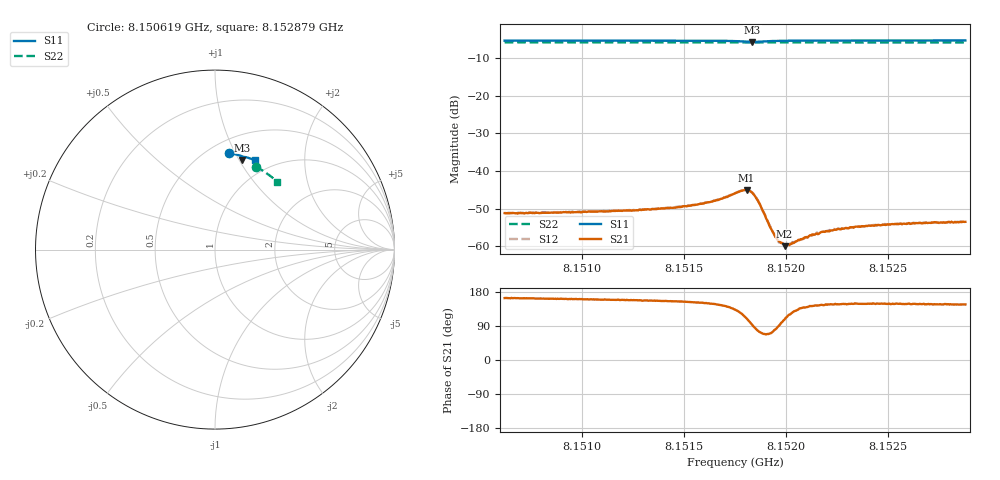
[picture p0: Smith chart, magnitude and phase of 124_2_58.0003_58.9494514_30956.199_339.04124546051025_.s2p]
#  HZ  S  RI  R  50.00
! Rohde & Schwarz Vector Network Analyzer
! Rohde-Schwarz,ZNB20-2Port,1311601062101988,3.16
! Created: UTC 3/21/2024, 12:55:50 AM
! freq[Hz]  re:S11  im:S11  re:S21  im:S21  re:S12  im:S12  re:S22  im:S22
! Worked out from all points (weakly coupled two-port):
!   401 points, 8.150619 GHz to 8.152879 GHz, reference 50 ohm
!   highest |S21| = -45.09 dB at 8.151806 GHz (marker M1); lowest = -60.0 dB at 8.151992 GHz (marker M2)
!   lowest |S11| = -5.7 dB at 8.151834 GHz (marker M3), VSWR 3.18, Z = 37.6 + j51.5 ohm
!   |S11| at or under -10 dB: nowhere
!   |S22| runs from -5.8 to -5.8 dB; largest |S21 - S12| = 0.00013
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8.1506194e9  0.0758 0.5366  -0.00263 0.000783  -0.00264 0.000817  0.2264 0.4625
8.1509979e9  0.1028 0.5328  -0.00267 0.000923  -0.00267 0.00102  0.248 0.4507
8.1513763e9  0.1299 0.527  -0.00288 0.00128  -0.00285 0.00132  0.269 0.4381
8.151478e9  0.1374 0.5249  -0.00297 0.00143  -0.00301 0.00151  0.2745 0.4345
8.1515853e9  0.146 0.522  -0.00321 0.00175  -0.0032 0.0018  0.2802 0.4306
8.1516757e9  0.154 0.5178  -0.00345 0.00241  -0.00345 0.00249  0.285 0.4273
8.1517491e9  0.1602 0.5105  -0.00344 0.00369  -0.00341 0.00373  0.2888 0.4243
8.151783e9  0.1607 0.5048  -0.00286 0.00465  -0.0028 0.00472  0.2903 0.4228
8.1518056e9  0.1581 0.5008  -0.0019 0.00523  -0.00181 0.00529  0.2914 0.4218
8.1518339e9  0.152 0.4991  -0.000214 0.00512  -0.000154 0.00516  0.2925 0.421
8.1518508e9  0.1486 0.5012  0.000579 0.00442  0.000639 0.00446  0.2934 0.4204
8.1518678e9  0.1469 0.5046  0.000993 0.0036  0.00107 0.00359  0.2942 0.4199
8.1519242e9  0.1509 0.5134  0.000581 0.00164  0.000598 0.00167  0.2973 0.4183
8.1519525e9  0.1544 0.5151  0.000151 0.00126  0.000164 0.00127  0.2988 0.4172
8.1519751e9  0.157 0.5158  -0.000151 0.00109  -0.00013 0.0011  0.2999 0.4163
8.151992e9  0.1589 0.516  -0.000288 0.000955  -0.000322 0.001  0.301 0.4158
8.1520259e9  0.1624 0.5161  -0.00059 0.000894  -0.00058 0.000905  0.3027 0.4142
8.1521276e9  0.1717 0.5149  -0.00113 0.000875  -0.00108 0.000855  0.308 0.4105
8.1522236e9  0.1793 0.513  -0.00135 0.000887  -0.00136 0.000931  0.3128 0.4066
8.1523479e9  0.1885 0.5103  -0.00155 0.000939  -0.00152 0.000976  0.3189 0.4014
8.152506e9  0.1993 0.5066  -0.00166 0.001  -0.00165 0.00104  0.3268 0.395
8.1528788e9  0.2241 0.497  -0.00175 0.00116  -0.00178 0.0012  0.3445 0.3789
